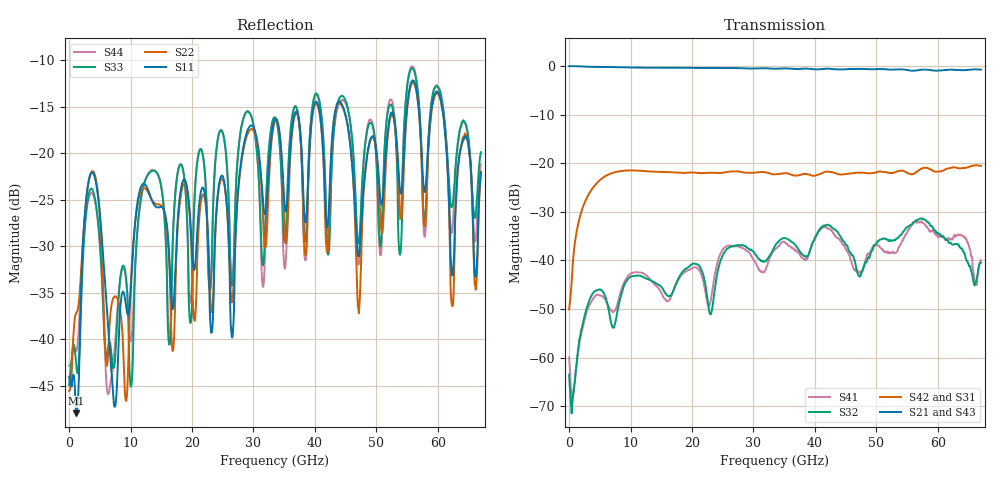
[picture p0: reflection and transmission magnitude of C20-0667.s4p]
! MARKI MICROWAVE INC.
! Email:  info@markimicrowave.com  Phone:  408-778-4200
! Model Number:  C20-0667  Date:  12/13
! Filename:		C20_0667.S4P  Version: 1.0
! Description:  4-port S-parameter data for Directional Coupler C20-0667
! Frequency Range: 	10 MHz to 67 GHz
! Port Configuration:	PORT 1: Input
!  PORT 2: Output
!  Port 3: Coupled
!  Port 4: Isolated
! S4P File: Measurements: Mag<S11> Ang<S11> Mag<S12> Ang<S12> Mag<S13> Ang<S13> Mag<S14> Ang<S14>! row 1
!  Mag<S21> Ang<S21> Mag<S22> Ang<S22> Mag<S23> Ang<S23> Mag<S24> Ang<S24>! row 2
!  Mag<S31> Ang<S31> Mag<S32> Ang<S32> Mag<S33> Ang<S33> Mag<S34> Ang<S34>! row 3
!  Mag<S41> Ang<S41> Mag<S42> Ang<S42> Mag<S43> Ang<S43> Mag<S44> Ang<S44>! row 4
# Hz S  dB  R 50
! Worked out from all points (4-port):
!   801 points, 10 MHz to 67 GHz, reference 50 ohm
!   strongest paths, dB at 10 MHz, 16.76 GHz, 33.51 GHz, 50.25 GHz, 67 GHz:
!     S21: 0.0, -0.3, -0.5, -0.6, -0.7
!     S43: 0.0, -0.4, -0.6, -0.7, -0.8
!     S42: -50.1, -21.8, -22.3, -21.8, -20.5
!     S31: -50.6, -21.8, -22.3, -21.9, -20.5
!     S32: -63.5, -46.8, -37.0, -36.0, -40.5
!     S41: -59.9, -47.0, -37.6, -36.9, -39.9
!   lowest |S11| = -48.0 dB at 1.182 GHz (marker M1), VSWR 1.01, Z = 50.3 - j0.302 ohm
!   |S11| at or under -10 dB: start of sweep to end of sweep
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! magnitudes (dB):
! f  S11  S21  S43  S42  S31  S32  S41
! 10 MHz  -44.0  0.0  0.0  -50.1  -50.6  -63.5  -59.9
! 1.182 GHz  -48.0  0.0  -0.1  -34.4  -34.4  -61.8  -61.9
! 3.694 GHz  -22.1  -0.1  -0.2  -25.4  -25.4  -47.1  -48.4
! 7.463 GHz  -47.3  -0.2  -0.2  -21.8  -21.8  -53.1  -50.3
! 12.07 GHz  -23.3  -0.3  -0.3  -21.6  -21.6  -43.5  -42.6
! 16.84 GHz  -36.8  -0.3  -0.4  -21.8  -21.9  -46.6  -46.7
! 67 GHz  -22.1  -0.7  -0.8  -20.5  -20.5  -40.5  -39.9
